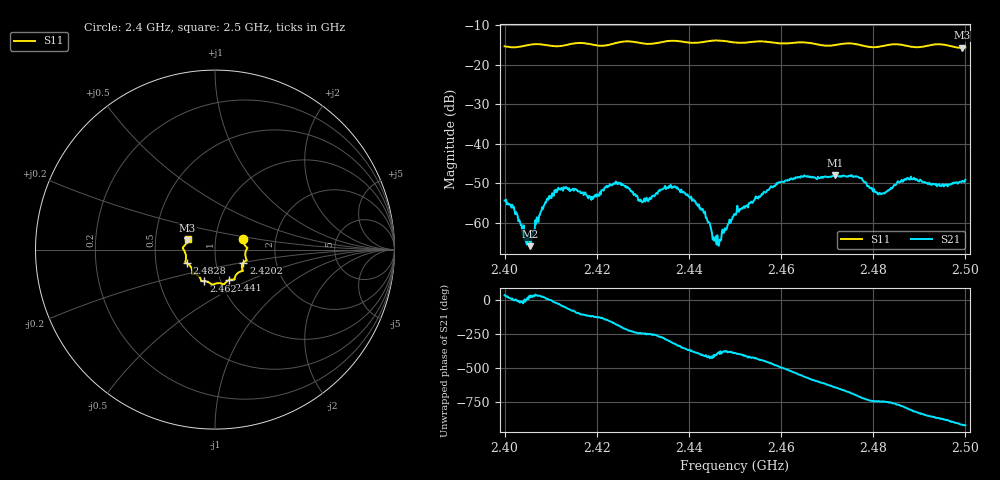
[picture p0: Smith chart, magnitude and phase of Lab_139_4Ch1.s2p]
# Hz S RI R 50
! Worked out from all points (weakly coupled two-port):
!   601 points, 2.4 GHz to 2.5 GHz, reference 50 ohm
!   highest |S21| = -47.87 dB at 2.4717 GHz (marker M1); lowest = -65.8 dB at 2.4055 GHz (marker M2)
!   lowest |S11| = -15.8 dB at 2.4993 GHz (marker M3), VSWR 1.39, Z = 36.5 + j3.88 ohm
!   |S11| at or under -10 dB: start of sweep to end of sweep
!   S12 and S22 are empty: the file has one direction only
!   S11 on the Smith chart (normalised r, x): 2.4 GHz: 1.36, +0.17; 2.4202 GHz: 1.36, -0.20; 2.441 GHz: 1.10, -0.39; 2.462 GHz: 0.83, -0.30; 2.4828 GHz: 0.72, -0.11; 2.5 GHz: 0.73, +0.09
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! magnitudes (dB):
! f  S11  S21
! 2.4 GHz  -15.4  -54.3
! 2.4022 GHz  -15.7  -56.8
! 2.4055 GHz  -15.0  -65.8
! 2.4087 GHz  -15.0  -55.3
! 2.4113 GHz  -15.4  -52.2
! 2.4167 GHz  -14.6  -52.3
! 2.4202 GHz  -15.2  -53.1
! 2.4242 GHz  -14.6  -49.5
! 2.4295 GHz  -14.6  -54.1
! 2.4333 GHz  -14.5  -52.1
! 2.437 GHz  -14.0  -50.8
! 2.441 GHz  -14.6  -54.0
! 2.446 GHz  -13.9  -65.4
! 2.45 GHz  -14.5  -57.7
! 2.462 GHz  -14.6  -48.8
! 2.4667 GHz  -14.6  -48.5
! 2.4717 GHz  -15.1  -47.9
! 2.4828 GHz  -15.1  -52.1
! 2.4833 GHz  -15.0  -51.8
! 2.4878 GHz  -15.4  -49.0
! 2.4993 GHz  -15.8  -49.4
! 2.5 GHz  -15.7  -49.1
